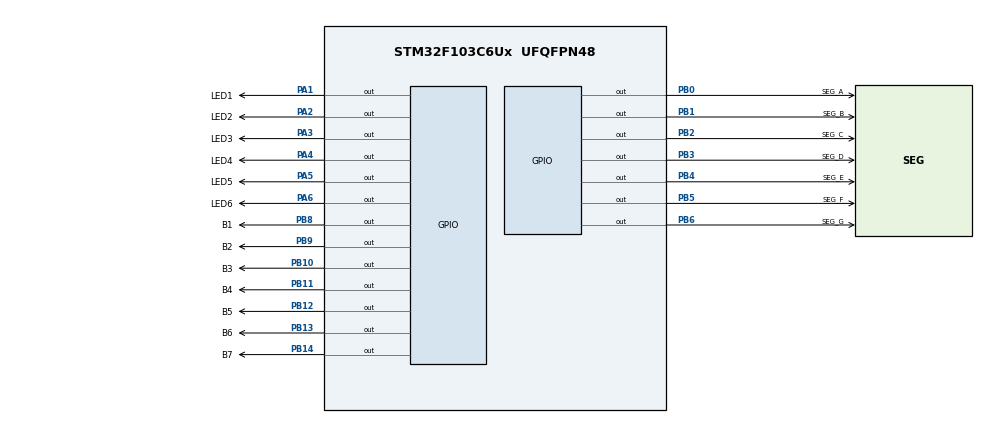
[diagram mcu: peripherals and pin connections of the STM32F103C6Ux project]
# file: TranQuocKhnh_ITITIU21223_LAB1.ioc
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Mcu.Family=STM32F1
Mcu.Name=STM32F103C6Ux
Mcu.Package=UFQFPN48
NVIC.PriorityGroup=NVIC_PRIORITYGROUP_4
PA1.GPIO_Label=LED1
PA1.Signal=GPIO_Output
PA2.GPIO_Label=LED2
PA2.Signal=GPIO_Output
PA3.GPIO_Label=LED3
PA3.Signal=GPIO_Output
PA4.GPIO_Label=LED4
PA4.Signal=GPIO_Output
PA5.GPIO_Label=LED5
PA5.Signal=GPIO_Output
PA6.GPIO_Label=LED6
PA6.Signal=GPIO_Output
PB0.GPIO_Label=SEG_A
PB0.Signal=GPIO_Output
PB1.GPIO_Label=SEG_B
PB1.Signal=GPIO_Output
PB10.GPIO_Label=B3
PB10.Signal=GPIO_Output
PB11.GPIO_Label=B4
PB11.Signal=GPIO_Output
PB12.GPIO_Label=B5
PB12.Signal=GPIO_Output
PB13.GPIO_Label=B6
PB13.Signal=GPIO_Output
PB14.GPIO_Label=B7
PB14.Signal=GPIO_Output
PB2.GPIO_Label=SEG_C
PB2.Signal=GPIO_Output
PB3.GPIO_Label=SEG_D
PB3.Signal=GPIO_Output
PB4.GPIO_Label=SEG_E
PB4.Signal=GPIO_Output
PB5.GPIO_Label=SEG_F
PB5.Signal=GPIO_Output
PB6.GPIO_Label=SEG_G
PB6.Signal=GPIO_Output
PB8.GPIO_Label=B1
PB8.Signal=GPIO_Output
PB9.GPIO_Label=B2
PB9.Signal=GPIO_Output
ProjectManager.HeapSize=0x200
ProjectManager.StackSize=0x400
ProjectManager.TargetToolchain=STM32CubeIDE
RCC.APB1Freq_Value=8000000
RCC.APB2Freq_Value=8000000
board=custom

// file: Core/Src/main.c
/* USER CODE BEGIN Header */
/**
  ******************************************************************************
  * @file           : main.c
  * @brief          : Main program body
  ******************************************************************************
  * @attention
  *
  * Copyright (c) 2024 STMicroelectronics.
  * All rights reserved.
  *
  * This software is licensed under terms that can be found in the LICENSE file
  * in the root directory of this software component.
  * If no LICENSE file comes with this software, it is provided AS-IS.
  *
  ******************************************************************************
  */
/* USER CODE END Header */
#include "main.h"

void SystemClock_Config(void);
static void MX_GPIO_Init(void);
/* USER CODE BEGIN PFP */
// Define the LED sequences
/* USER CODE END PFP */
const int digitConfig[][7] = {
        // A, B, C, D, E, F, G, DP
        {1, 1, 1, 1, 1, 1, 0}, // 0
        {0, 1, 1, 0, 0, 0, 0}, // 1
        {1, 1, 0, 1, 1, 0, 1}, // 2
        {1, 1, 1, 1, 0, 0, 1}, // 3
        {0, 1, 1, 0, 0, 1, 1}, // 4
        {1, 0, 1, 1, 0, 1, 1}, // 5
        {1, 0, 1, 1, 1, 1, 1}, // 6
        {1, 1, 1, 0, 0, 0, 0}, // 7
        {1, 1, 1, 1, 1, 1, 1}, // 8
        {1, 1, 1, 1, 0, 1, 1}  // 9
    };
void display7SEG(int num) {
	 if (num < 0 || num > 9) {
	        return;
	    }
	 const int *config = digitConfig[num];

	 HAL_GPIO_WritePin(SEG_A_GPIO_Port, SEG_A_Pin, config[0] ? GPIO_PIN_RESET : GPIO_PIN_SET);
	 HAL_GPIO_WritePin(SEG_B_GPIO_Port, SEG_B_Pin, config[1] ? GPIO_PIN_RESET : GPIO_PIN_SET);
	 HAL_GPIO_WritePin(SEG_C_GPIO_Port, SEG_C_Pin, config[2] ? GPIO_PIN_RESET : GPIO_PIN_SET);
	 HAL_GPIO_WritePin(SEG_D_GPIO_Port, SEG_D_Pin, config[3] ? GPIO_PIN_RESET : GPIO_PIN_SET);
	 HAL_GPIO_WritePin(SEG_E_GPIO_Port, SEG_E_Pin, config[4] ? GPIO_PIN_RESET : GPIO_PIN_SET);
	 HAL_GPIO_WritePin(SEG_F_GPIO_Port, SEG_F_Pin, config[5] ? GPIO_PIN_RESET : GPIO_PIN_SET);
	 HAL_GPIO_WritePin(SEG_G_GPIO_Port, SEG_G_Pin, config[6] ? GPIO_PIN_RESET : GPIO_PIN_SET);
}
void display7SEG2(int num) {

	 if (num < 0 || num > 9) {
		        return;
		    }
	 const int *config = digitConfig[num];

	 HAL_GPIO_WritePin(B1_GPIO_Port, B1_Pin, config[0] ? GPIO_PIN_RESET : GPIO_PIN_SET);
	 HAL_GPIO_WritePin(B2_GPIO_Port, B2_Pin, config[1] ? GPIO_PIN_RESET : GPIO_PIN_SET);
	 HAL_GPIO_WritePin(B3_GPIO_Port, B3_Pin, config[2] ? GPIO_PIN_RESET : GPIO_PIN_SET);
	 HAL_GPIO_WritePin(B4_GPIO_Port, B4_Pin, config[3] ? GPIO_PIN_RESET : GPIO_PIN_SET);
	 HAL_GPIO_WritePin(B5_GPIO_Port, B5_Pin, config[4] ? GPIO_PIN_RESET : GPIO_PIN_SET);
	 HAL_GPIO_WritePin(B6_GPIO_Port, B6_Pin, config[5] ? GPIO_PIN_RESET : GPIO_PIN_SET);
	 HAL_GPIO_WritePin(B7_GPIO_Port, B7_Pin, config[6] ? GPIO_PIN_RESET : GPIO_PIN_SET);
}

int main(void)
{

  /* MCU Configuration--------------------------------------------------------*/

  /* Reset of all peripherals, Initializes the Flash interface and the Systick. */
  HAL_Init();

  /* Configure the system clock */
  SystemClock_Config();

  /* Initialize all configured peripherals */
  MX_GPIO_Init();

  /* Infinite loop */
  /* USER CODE BEGIN WHILE */
  int count_red = 9 ;
  int count_yellow = 3;
  int count_green = 5;
  int open_red = 1 ;
  int open_yellow = 0 ;
  int open_green = 0 ;
  ////
  int count_red2 = 9 ;
  int count_yellow2 = 3;
  int count_green2 = 5;
  int open_red2 = 0 ;
  int open_yellow2 = 0 ;
  int open_green2 = 1 ;

  while (1)
  {

	  /// part 1
	  if (open_green == 1 ) {
	  	         HAL_GPIO_WritePin(LED1_GPIO_Port, LED1_Pin, GPIO_PIN_RESET);
	  	         HAL_GPIO_WritePin(LED2_GPIO_Port, LED2_Pin | LED3_Pin, GPIO_PIN_SET);
	  	         if (count_green >= 0) {
	  	            display7SEG(count_green) ;
	  	            }
	  	         if (count_green < 0) {
	  	        	open_green = 0 ;
	  	        	open_yellow = 1 ;
	  	        	count_yellow = 3 ;
	  	         }
	  	         count_green--;
	  }
	  if (open_yellow == 1) {
	  	     	 HAL_GPIO_WritePin(LED1_GPIO_Port, LED1_Pin | LED2_Pin, GPIO_PIN_SET);
	  	     	 HAL_GPIO_WritePin(LED3_GPIO_Port, LED3_Pin, GPIO_PIN_RESET);
	  	     	 if (count_yellow >= 0) {
	  	     		 display7SEG(count_yellow) ;
	  	     	 }
	  	     	 if (count_yellow < 0) {
	  	     		 open_yellow = 0 ;
	  	     		 open_red = 1 ;
	  	     		 count_red = 9 ;
	  	         }
	  	     	 count_yellow--;
	  }
	  if (open_red == 1 ) {
	  	         HAL_GPIO_WritePin(LED1_GPIO_Port, LED1_Pin | LED3_Pin, GPIO_PIN_SET);
	  	         HAL_GPIO_WritePin(LED2_GPIO_Port, LED2_Pin, GPIO_PIN_RESET);
	  	         display7SEG(count_red);
	  	         if (count_red == 0) {
	  	       	  	      open_red = 0 ;
	  	       	  	      open_green = 1 ;
	  	       	  	      count_green = 5 ;
	  	       	 }
	  	         count_red -- ;
	  }
	  ///// part 2
	  if (open_green2 == 1 ) {
	  	  	         HAL_GPIO_WritePin(LED6_GPIO_Port, LED6_Pin, GPIO_PIN_RESET);
	  	  	         HAL_GPIO_WritePin(LED5_GPIO_Port, LED5_Pin | LED4_Pin, GPIO_PIN_SET);
	  	  	         if (count_green2 >= 0) {
	  	  	            display7SEG2(count_green2) ;
	  	  	            }
	  	  	         if (count_green2 < 0) {
	  	  	        	open_green2 = 0 ;
	  	  	        	open_yellow2 = 1 ;
	  	  	        	count_yellow2 = 3 ;
	  	  	         }
	  	  	         count_green2--;
	  	  }
	  	  if (open_yellow2 == 1) {
	  	  	     	 HAL_GPIO_WritePin(LED5_GPIO_Port, LED5_Pin | LED6_Pin, GPIO_PIN_SET);
	  	  	     	 HAL_GPIO_WritePin(LED4_GPIO_Port, LED4_Pin, GPIO_PIN_RESET);
	  	  	     	 if (count_yellow2 >= 0) {
	  	  	     		 display7SEG2(count_yellow2) ;
	  	  	     	 }
	  	  	     	 if (count_yellow2 < 0) {
	  	  	     		 open_yellow2 = 0 ;
	  	  	     		 open_red2 = 1 ;
	  	  	     		 count_red2 = 9 ;
	  	  	         }
	  	  	     	 count_yellow2--;
	  	  }
	  	  if (open_red2 == 1 ) {
	  	  	         HAL_GPIO_WritePin(LED6_GPIO_Port, LED6_Pin | LED4_Pin, GPIO_PIN_SET);
	  	  	         HAL_GPIO_WritePin(LED5_GPIO_Port, LED5_Pin, GPIO_PIN_RESET);
	  	  	         display7SEG2(count_red2);
	  	  	         if (count_red2 == 0) {
	  	  	       	  	      open_red2 = 0 ;
	  	  	       	  	      open_green2 = 1 ;
	  	  	       	  	      count_green2 = 5 ;
	  	  	       	 }
	  	  	         count_red2 -- ;
	  	  }

	  HAL_Delay(1000);

    /* USER CODE END WHILE */

  }
}

void SystemClock_Config(void)
{
  RCC_OscInitTypeDef RCC_OscInitStruct = {0};
  RCC_ClkInitTypeDef RCC_ClkInitStruct = {0};

  /** Initializes the RCC Oscillators according to the specified parameters
  * in the RCC_OscInitTypeDef structure.
  */
  RCC_OscInitStruct.OscillatorType = RCC_OSCILLATORTYPE_HSI;
  RCC_OscInitStruct.HSIState = RCC_HSI_ON;
  RCC_OscInitStruct.HSICalibrationValue = RCC_HSICALIBRATION_DEFAULT;
  RCC_OscInitStruct.PLL.PLLState = RCC_PLL_NONE;
  if (HAL_RCC_OscConfig(&RCC_OscInitStruct) != HAL_OK)
  {
    Error_Handler();
  }

  /** Initializes the CPU, AHB and APB buses clocks
  */
  RCC_ClkInitStruct.ClockType = RCC_CLOCKTYPE_HCLK|RCC_CLOCKTYPE_SYSCLK
                              |RCC_CLOCKTYPE_PCLK1|RCC_CLOCKTYPE_PCLK2;
  RCC_ClkInitStruct.SYSCLKSource = RCC_SYSCLKSOURCE_HSI;
  RCC_ClkInitStruct.AHBCLKDivider = RCC_SYSCLK_DIV1;
  RCC_ClkInitStruct.APB1CLKDivider = RCC_HCLK_DIV1;
  RCC_ClkInitStruct.APB2CLKDivider = RCC_HCLK_DIV1;

  if (HAL_RCC_ClockConfig(&RCC_ClkInitStruct, FLASH_LATENCY_0) != HAL_OK)
  {
    Error_Handler();
  }
}

static void MX_GPIO_Init(void)
{
  GPIO_InitTypeDef GPIO_InitStruct = {0};

  /* GPIO Ports Clock Enable */
  __HAL_RCC_GPIOA_CLK_ENABLE();
  __HAL_RCC_GPIOB_CLK_ENABLE();

  /*Configure GPIO pin Output Level */
  HAL_GPIO_WritePin(GPIOA, LED1_Pin|LED2_Pin|LED3_Pin|LED4_Pin
                          |LED5_Pin|LED6_Pin, GPIO_PIN_RESET);

  /*Configure GPIO pin Output Level */
  HAL_GPIO_WritePin(GPIOB, SEG_A_Pin|SEG_B_Pin|SEG_C_Pin|B3_Pin
                          |B4_Pin|B5_Pin|B6_Pin|B7_Pin
                          |SEG_D_Pin|SEG_E_Pin|SEG_F_Pin|SEG_G_Pin
                          |B1_Pin|B2_Pin, GPIO_PIN_RESET);

  /*Configure GPIO pins : LED1_Pin LED2_Pin LED3_Pin LED4_Pin
                           LED5_Pin LED6_Pin */
  GPIO_InitStruct.Pin = LED1_Pin|LED2_Pin|LED3_Pin|LED4_Pin
                          |LED5_Pin|LED6_Pin;
  GPIO_InitStruct.Mode = GPIO_MODE_OUTPUT_PP;
  GPIO_InitStruct.Pull = GPIO_NOPULL;
  GPIO_InitStruct.Speed = GPIO_SPEED_FREQ_LOW;
  HAL_GPIO_Init(GPIOA, &GPIO_InitStruct);

  /*Configure GPIO pins : SEG_A_Pin SEG_B_Pin SEG_C_Pin B3_Pin
                           B4_Pin B5_Pin B6_Pin B7_Pin
                           SEG_D_Pin SEG_E_Pin SEG_F_Pin SEG_G_Pin
                           B1_Pin B2_Pin */
  GPIO_InitStruct.Pin = SEG_A_Pin|SEG_B_Pin|SEG_C_Pin|B3_Pin
                          |B4_Pin|B5_Pin|B6_Pin|B7_Pin
                          |SEG_D_Pin|SEG_E_Pin|SEG_F_Pin|SEG_G_Pin
                          |B1_Pin|B2_Pin;
  GPIO_InitStruct.Mode = GPIO_MODE_OUTPUT_PP;
  GPIO_InitStruct.Pull = GPIO_NOPULL;
  GPIO_InitStruct.Speed = GPIO_SPEED_FREQ_LOW;
  HAL_GPIO_Init(GPIOB, &GPIO_InitStruct);

}

void Error_Handler(void)
{
  __disable_irq();
  while (1)
  {
  }
}
